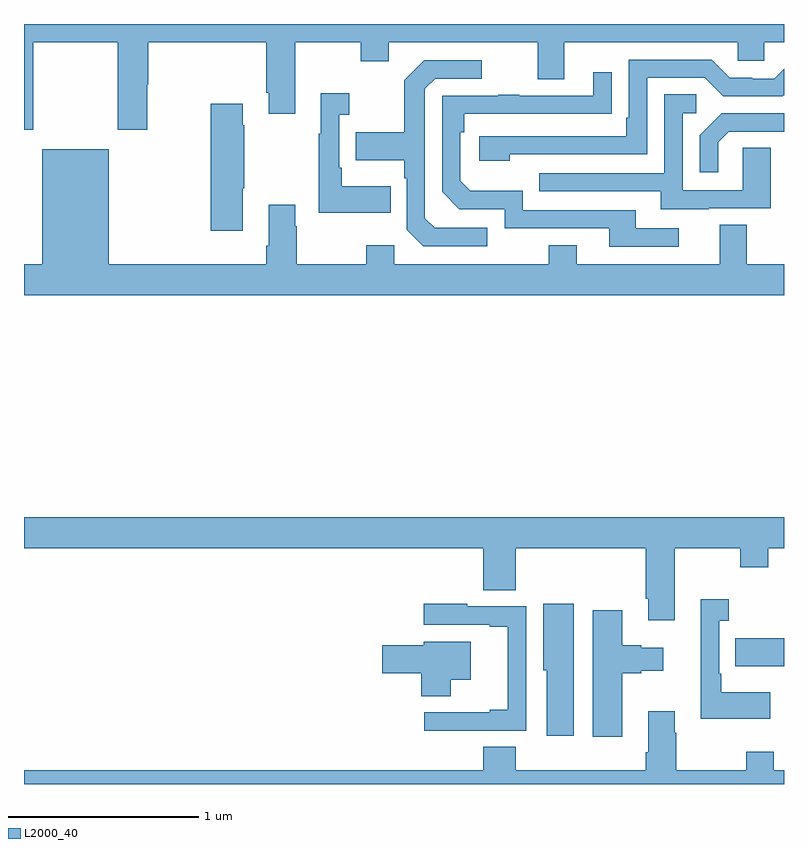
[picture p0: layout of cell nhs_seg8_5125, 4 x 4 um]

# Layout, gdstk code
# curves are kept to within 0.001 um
import gdstk
lib = gdstk.Library(unit=1e-6, precision=1e-09)
def R(c, l, rs):  # rectangles x0, y0, x1, y1
    for r in rs: c.add(gdstk.rectangle(r[:2], r[2:], *l))
def P(c, l, *ps):  # polygons
    for p in ps: c.add(gdstk.Polygon(p, *l))
L2000_40 = (2000, 40)

nhs_seg8_5125 = lib.new_cell('nhs_seg8_5125')
R(nhs_seg8_5125, L2000_40, [(422.743,1142.519,423,1142.667)])
P(nhs_seg8_5125, L2000_40, [(419.049,1145.804),(419.494,1145.804),(419.494,1145.343),(419.649,1145.343),(419.649,1145.582),(419.654,1145.582),(419.654,1145.804),(420.275,1145.804),(420.275,1145.539),(420.287,1145.539),(420.287,1145.427),(420.427,1145.427),(420.427,1145.804),(420.772,1145.804),(420.772,1145.705),(420.919,1145.705),(420.919,1145.804),(421.703,1145.804),(421.703,1145.61),(421.843,1145.61),(421.843,1145.804),(422.757,1145.804),(422.757,1145.706),(422.895,1145.706),(422.895,1145.804),(423,1145.804),(423,1145.9),(419,1145.9),(419,1145.343),(419.049,1145.343)],
  [(421.556,1145.214),(422.28,1145.214),(422.28,1145.616),(422.583,1145.616),(422.679,1145.52),(422.994,1145.52),(423,1145.526),(423,1145.664),(422.949,1145.613),(422.834,1145.613),(422.834,1145.616),(422.715,1145.616),(422.619,1145.712),(422.184,1145.712),(422.184,1145.407),(422.171,1145.407),(422.171,1145.31),(421.395,1145.31),(421.395,1145.18),(421.556,1145.18)],
  [(421.438,1144.827),(421.161,1144.827),(421.11,1144.878),(421.11,1145.559),(421.164,1145.613),(421.408,1145.613),(421.408,1145.709),(421.107,1145.709),(421.002,1145.603),(421.002,1145.331),(420.745,1145.331),(420.745,1145.183),(421.002,1145.183),(421.002,1145.087),(421.014,1145.087),(421.014,1144.818),(421.101,1144.731),(421.438,1144.731)],
  [(422.446,1144.824),(422.221,1144.824),(422.221,1144.92),(421.626,1144.92),(421.626,1145.023),(421.349,1145.023),(421.296,1145.076),(421.296,1145.33),(421.316,1145.33),(421.316,1145.427),(422.093,1145.428),(422.093,1145.647),(421.997,1145.647),(421.997,1145.523),(421.607,1145.523),(421.607,1145.528),(421.495,1145.528),(421.495,1145.523),(421.2,1145.523),(421.2,1145.016),(421.29,1144.926),(421.53,1144.926),(421.53,1144.824),(422.081,1144.824),(422.081,1144.728),(422.446,1144.728)],
  [(420.929,1145.047),(420.673,1145.047),(420.673,1145.143),(420.66,1145.143),(420.66,1145.423),(420.712,1145.423),(420.712,1145.536),(420.563,1145.536),(420.563,1145.323),(420.552,1145.323),(420.552,1144.907),(420.929,1144.907)],
  [(422.605,1144.929),(422.929,1144.929),(422.929,1145.249),(422.784,1145.249),(422.784,1145.025),(422.466,1145.025),(422.466,1145.43),(422.539,1145.43),(422.539,1145.531),(422.37,1145.531),(422.37,1145.115),(421.711,1145.115),(421.711,1145.019),(422.351,1145.019),(422.351,1144.925),(422.605,1144.925)],
  [(420.151,1145.035),(420.159,1145.035),(420.159,1145.366),(420.151,1145.366),(420.151,1145.479),(419.984,1145.479),(419.984,1144.812),(420.151,1144.812)],
  [(422.653,1145.277),(422.71,1145.334),(423,1145.334),(423,1145.43),(422.672,1145.43),(422.556,1145.314),(422.556,1145.121),(422.653,1145.121)],
  [(423,1144.636),(422.803,1144.636),(422.803,1144.844),(422.663,1144.844),(422.663,1144.636),(421.909,1144.636),(421.909,1144.735),(421.762,1144.735),(421.762,1144.636),(420.948,1144.636),(420.948,1144.735),(420.802,1144.735),(420.802,1144.636),(420.435,1144.636),(420.435,1144.835),(420.427,1144.835),(420.427,1144.948),(420.287,1144.948),(420.287,1144.732),(420.275,1144.732),(420.275,1144.636),(419.446,1144.636),(419.446,1145.242),(419.096,1145.242),(419.096,1144.636),(419,1144.636),(419,1144.472),(423,1144.472)],
  [(419,1143.14),(421.418,1143.14),(421.418,1142.92),(421.589,1142.92),(421.589,1143.14),(422.273,1143.14),(422.273,1142.875),(422.285,1142.875),(422.285,1142.763),(422.425,1142.763),(422.425,1143.14),(422.77,1143.14),(422.77,1143.041),(422.917,1143.041),(422.917,1143.14),(423,1143.14),(423,1143.304),(419,1143.304)],
  [(422.927,1142.383),(422.671,1142.383),(422.671,1142.479),(422.658,1142.479),(422.658,1142.759),(422.71,1142.759),(422.71,1142.872),(422.561,1142.872),(422.561,1142.243),(422.927,1142.243)],
  [(421.894,1142.848),(421.733,1142.848),(421.733,1142.499),(421.751,1142.499),(421.751,1142.154),(421.894,1142.154)],
  [(421.334,1142.181),(421.644,1142.181),(421.644,1142.835),(421.334,1142.835),(421.334,1142.848),(421.104,1142.848),(421.104,1142.739),(421.451,1142.739),(421.451,1142.727),(421.547,1142.727),(421.547,1142.29),(421.451,1142.29),(421.451,1142.277),(421.107,1142.277),(421.107,1142.18),(421.334,1142.18)],
  [(422.149,1142.483),(422.249,1142.483),(422.249,1142.495),(422.365,1142.495),(422.365,1142.617),(422.249,1142.617),(422.249,1142.63),(422.149,1142.63),(422.149,1142.815),(421.994,1142.815),(421.994,1142.148),(422.149,1142.148)],
  [(421.245,1142.45),(421.351,1142.45),(421.351,1142.65),(421.103,1142.65),(421.103,1142.63),(420.885,1142.63),(420.885,1142.483),(421.091,1142.483),(421.091,1142.362),(421.245,1142.362)],
  [(423,1141.972),(422.946,1141.972),(422.946,1142.071),(422.8,1142.071),(422.8,1141.972),(422.433,1141.972),(422.433,1142.171),(422.425,1142.171),(422.425,1142.284),(422.285,1142.284),(422.285,1142.068),(422.273,1142.068),(422.273,1141.972),(421.589,1141.972),(421.589,1142.096),(421.418,1142.096),(421.418,1141.972),(419,1141.972),(419,1141.9),(423,1141.9)])

lib.write_gds('nhs_seg8_5125.gds')
